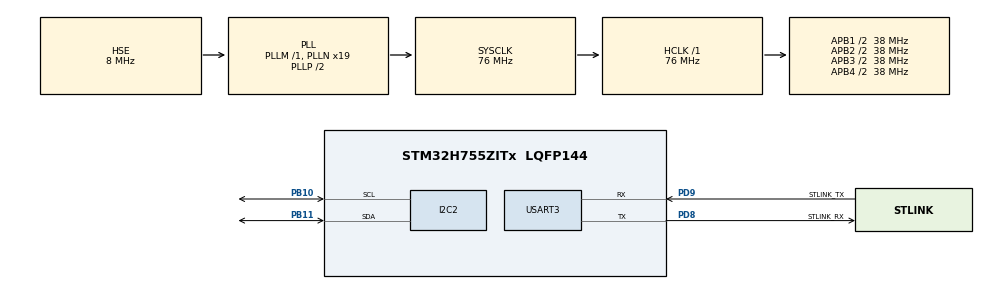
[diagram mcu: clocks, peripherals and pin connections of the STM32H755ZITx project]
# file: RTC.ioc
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CORTEX_M7.default_mode_Activation=1
CortexM4.IPs=BDMA,CORTEX_M4\:I,DMA,FATFS_M4\:I,FREERTOS_M4\:I,GPIO,IWDG2\:I,MDMA,NVIC2\:I,OPENAMP_M4\:I,PDM2PCM_M4\:I,PWR,RCC,RESMGR_UTILITY,SYS_M4\:I,USB_DEVICE_M4\:I,USB_HOST_M4\:I,VREFBUF,WWDG2\:I
CortexM7.IPs=BDMA\:I,CORTEX_M7\:I,DMA\:I,FATFS_M7\:I,FREERTOS_M7\:I,GPIO\:I,IWDG1\:I,MDMA\:I,NVIC1\:I,OPENAMP_M7\:I,PDM2PCM_M7\:I,PWR\:I,RCC\:I,RESMGR_UTILITY\:I,SYS\:I,USB_DEVICE_M7\:I,USB_HOST_M7\:I,VREFBUF\:I,WWDG1\:I,MEMORYMAP\:I,I2C2\:I,USART3\:I
I2C2.Timing=0x009094DE
Mcu.Family=STM32H7
Mcu.Name=STM32H755ZITx
Mcu.Package=LQFP144
NVIC1.PriorityGroup=NVIC_PRIORITYGROUP_4
NVIC2.PriorityGroup=NVIC_PRIORITYGROUP_4
PB10.Mode=I2C
PB10.PinAttribute=CortexM7
PB10.Signal=I2C2_SCL
PB11.Mode=I2C
PB11.PinAttribute=CortexM7
PB11.Signal=I2C2_SDA
PC14-OSC32_IN\ (OSC32_IN).Mode=LSE-External-Oscillator
PC14-OSC32_IN\ (OSC32_IN).PinAttribute=Free
PC14-OSC32_IN\ (OSC32_IN).Signal=RCC_OSC32_IN
PC15-OSC32_OUT\ (OSC32_OUT).Mode=LSE-External-Oscillator
PC15-OSC32_OUT\ (OSC32_OUT).PinAttribute=Free
PC15-OSC32_OUT\ (OSC32_OUT).Signal=RCC_OSC32_OUT
PD8.GPIO_Label=STLINK_RX
PD8.Mode=Asynchronous
PD8.PinAttribute=CortexM7
PD8.Signal=USART3_TX
PD9.GPIO_Label=STLINK_TX
PD9.Mode=Asynchronous
PD9.PinAttribute=CortexM7
PD9.Signal=USART3_RX
PH0-OSC_IN\ (PH0).Mode=HSE-External-Clock-Source
PH0-OSC_IN\ (PH0).PinAttribute=Free
PH0-OSC_IN\ (PH0).Signal=RCC_OSC_IN
ProjectManager.HeapSize=M4-0x200,M7-0x200
ProjectManager.StackSize=M4-0x400,M7-0x400
ProjectManager.TargetToolchain=STM32CubeIDE
RCC.ADCFreq_Value=16125000
RCC.APB1Freq_Value=38000000
RCC.APB2Freq_Value=38000000
RCC.APB3Freq_Value=38000000
RCC.APB4Freq_Value=38000000
RCC.CortexFreq_Value=76000000
RCC.D1PPRE=RCC_APB3_DIV2
RCC.D2PPRE1=RCC_APB1_DIV2
RCC.D2PPRE2=RCC_APB2_DIV2
RCC.D3PPRE=RCC_APB4_DIV2
RCC.DIVM1=1
RCC.DIVN1=19
RCC.HCLKFreq_Value=76000000
RCC.HSE_VALUE=8000000
RCC.PLL2FRACN=0
RCC.PLL3FRACN=0
RCC.PLLFRACN=0
RCC.PLLSourceVirtual=RCC_PLLSOURCE_HSE
RCC.SYSCLKFreq_VALUE=76000000
RCC.SYSCLKSource=RCC_SYSCLKSOURCE_PLLCLK
RCC.USBFreq_Value=76000000
SYS.userName=SYS_M7
USART3.VirtualMode-Asynchronous=VM_ASYNC
VP_MEMORYMAP_VS_MEMORYMAP.Mode=CurAppReg
VP_SYS_M4_VS_Systick.Mode=SysTick
board=custom

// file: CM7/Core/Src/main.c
 /* USER CODE BEGIN Header */
/**
  ******************************************************************************
  * @file           : main.c
  * @brief          : Main program body
  ******************************************************************************
  * @attention
  *
  * Copyright (c) 2025 STMicroelectronics.
  * All rights reserved.
  *
  * This software is licensed under terms that can be found in the LICENSE file
  * in the root directory of this software component.
  * If no LICENSE file comes with this software, it is provided AS-IS.
  *
  ******************************************************************************
  */
/* USER CODE END Header */
#include "main.h"

/* USER CODE BEGIN PD */

/* DUAL_CORE_BOOT_SYNC_SEQUENCE: Define for dual core boot synchronization    */
/*                             demonstration code based on hardware semaphore */
/* This define is present in both CM7/CM4 projects                            */
/* To comment when developping/debugging on a single core                     */
#define DUAL_CORE_BOOT_SYNC_SEQUENCE

#if defined(DUAL_CORE_BOOT_SYNC_SEQUENCE)
#ifndef HSEM_ID_0
#define HSEM_ID_0 (0U) /* HW semaphore 0*/
#endif
#endif /* DUAL_CORE_BOOT_SYNC_SEQUENCE */

/* USER CODE END PD */

I2C_HandleTypeDef hi2c2;

UART_HandleTypeDef huart3;

void SystemClock_Config(void);
static void MPU_Config(void);
static void MX_GPIO_Init(void);
static void MX_I2C2_Init(void);
static void MX_USART3_UART_Init(void);

/* USER CODE BEGIN 0 */
#include <stdio.h>
#include "myprintf.h"

uint8_t bcdToDec(uint8_t val) {
  return ((val / 16) * 10) + (val % 16);
}
/* USER CODE END 0 */

int main(void)
{

/* USER CODE BEGIN Boot_Mode_Sequence_0 */
#if defined(DUAL_CORE_BOOT_SYNC_SEQUENCE)
  int32_t timeout;
#endif /* DUAL_CORE_BOOT_SYNC_SEQUENCE */
/* USER CODE END Boot_Mode_Sequence_0 */

  /* MPU Configuration--------------------------------------------------------*/
  MPU_Config();

/* USER CODE BEGIN Boot_Mode_Sequence_1 */
#if defined(DUAL_CORE_BOOT_SYNC_SEQUENCE)
  /* Wait until CPU2 boots and enters in stop mode or timeout*/
  timeout = 0xFFFF;
  while((__HAL_RCC_GET_FLAG(RCC_FLAG_D2CKRDY) != RESET) && (timeout-- > 0));
  if ( timeout < 0 )
  {
  Error_Handler();
  }
#endif /* DUAL_CORE_BOOT_SYNC_SEQUENCE */
/* USER CODE END Boot_Mode_Sequence_1 */
  /* MCU Configuration--------------------------------------------------------*/

  /* Reset of all peripherals, Initializes the Flash interface and the Systick. */
  HAL_Init();

  /* Configure the system clock */
  SystemClock_Config();
/* USER CODE BEGIN Boot_Mode_Sequence_2 */
#if defined(DUAL_CORE_BOOT_SYNC_SEQUENCE)
/* When system initialization is finished, Cortex-M7 will release Cortex-M4 by means of
HSEM notification */
/*HW semaphore Clock enable*/
__HAL_RCC_HSEM_CLK_ENABLE();
/*Take HSEM */
HAL_HSEM_FastTake(HSEM_ID_0);
/*Release HSEM in order to notify the CPU2(CM4)*/
HAL_HSEM_Release(HSEM_ID_0,0);
/* wait until CPU2 wakes up from stop mode */
timeout = 0xFFFF;
while((__HAL_RCC_GET_FLAG(RCC_FLAG_D2CKRDY) == RESET) && (timeout-- > 0));
if ( timeout < 0 )
{
Error_Handler();
}
#endif /* DUAL_CORE_BOOT_SYNC_SEQUENCE */
/* USER CODE END Boot_Mode_Sequence_2 */

  /* Initialize all configured peripherals */
MX_GPIO_Init();
MX_I2C2_Init();
MX_USART3_UART_Init();
/* USER CODE BEGIN 2 */
printf("Setting RTC to current date and time...\r\n");
uint8_t RtcSlaveAddress = 0x68;
uint8_t time_date_data[7];
time_date_data[0] = 0x00; // Registro 0x00
time_date_data[1] = 0x28; // Registro 0x01
time_date_data[2] = 0x12; // Registro 0x02
time_date_data[3] = 0x05; // Registro 0x03
time_date_data[4] = 0x04; // Registro 0x04
time_date_data[5] = 0x09; // Registro 0x05
time_date_data[6] = 0x25; // Registro 0x06
HAL_StatusTypeDef status = HAL_I2C_Mem_Write(&hi2c2, RtcSlaveAddress << 1, 0x00, I2C_MEMADD_SIZE_8BIT, time_date_data, 7, 1000);
if (status == HAL_OK) {
   printf("RTC configured successfully!\r\n");
} else {
   printf("Error configuring RTC: %d\r\n", status);
}
HAL_Delay(100);
/* USER CODE END 2 */
/* Infinite loop */
/* USER CODE BEGIN WHILE */
while (1)
{
 uint8_t RtcSlaveAddress = 0x68;
 uint8_t minutes_register = 0x01;
 uint8_t minutes_value;
 uint8_t ReceiveBuffer[7];
 HAL_StatusTypeDef status;
 // FIGURE 4 and 5
 /*
 status = HAL_I2C_Master_Transmit(&hi2c2, RtcSlaveAddress << 1, &minutes_register, 1, 1000);
 if (status != HAL_OK) {
   printf("Error Transmit: %d\r\n", status);
   HAL_Delay(1000);
   continue;
 }
 status = HAL_I2C_Master_Receive(&hi2c2, RtcSlaveAddress << 1, &minutes_value, 1, 1000);
 if (status != HAL_OK) {
   printf("Error Receive: %d\r\n", status);
   HAL_Delay(1000);
   continue;
 }
 printf("Figura 4-5 - Minutes: %d\r\n", bcdToDec(minutes_value));
 */
 // OPCIÓN 2: FIGURE 6
 status = HAL_I2C_Mem_Read(&hi2c2, RtcSlaveAddress << 1, 0x01,
                         I2C_MEMADD_SIZE_8BIT, &minutes_value, 1, 1000);
 if (status != HAL_OK) {
   printf("Error reading minutes: %d\r\n", status);
   HAL_Delay(1000);
   continue;
 }
 printf("Figura 6 - Minutes: %d\r\n", bcdToDec(minutes_value));
 status = HAL_I2C_Mem_Read(&hi2c2, RtcSlaveAddress << 1, 0x00,
                         I2C_MEMADD_SIZE_8BIT, ReceiveBuffer, 7, 1000);
 if (status == HAL_OK) {
   printf("Full RTC - ");
   printf("Time: %02d:%02d:%02d",
          bcdToDec(ReceiveBuffer[2]),  // Horas
          bcdToDec(ReceiveBuffer[1]),  // Minutos
          bcdToDec(ReceiveBuffer[0])); // Segundos
   printf(" | Date: %02d/%02d/20%02d\r\n",
          bcdToDec(ReceiveBuffer[5]),  // Mes
          bcdToDec(ReceiveBuffer[4]),  // Día
          bcdToDec(ReceiveBuffer[6])); // Año
 } else {
   printf("Error reading full RTC: %d\r\n", status);
 }
 HAL_Delay(1000);
 /* USER CODE END WHILE */
}
}

void SystemClock_Config(void)
{
  RCC_OscInitTypeDef RCC_OscInitStruct = {0};
  RCC_ClkInitTypeDef RCC_ClkInitStruct = {0};

  /** Supply configuration update enable
  */
  HAL_PWREx_ConfigSupply(PWR_DIRECT_SMPS_SUPPLY);

  /** Configure the main internal regulator output voltage
  */
  __HAL_PWR_VOLTAGESCALING_CONFIG(PWR_REGULATOR_VOLTAGE_SCALE3);

  while(!__HAL_PWR_GET_FLAG(PWR_FLAG_VOSRDY)) {}

  /** Initializes the RCC Oscillators according to the specified parameters
  * in the RCC_OscInitTypeDef structure.
  */
  RCC_OscInitStruct.OscillatorType = RCC_OSCILLATORTYPE_HSE;
  RCC_OscInitStruct.HSEState = RCC_HSE_BYPASS;
  RCC_OscInitStruct.PLL.PLLState = RCC_PLL_ON;
  RCC_OscInitStruct.PLL.PLLSource = RCC_PLLSOURCE_HSE;
  RCC_OscInitStruct.PLL.PLLM = 1;
  RCC_OscInitStruct.PLL.PLLN = 19;
  RCC_OscInitStruct.PLL.PLLP = 2;
  RCC_OscInitStruct.PLL.PLLQ = 2;
  RCC_OscInitStruct.PLL.PLLR = 2;
  RCC_OscInitStruct.PLL.PLLRGE = RCC_PLL1VCIRANGE_3;
  RCC_OscInitStruct.PLL.PLLVCOSEL = RCC_PLL1VCOMEDIUM;
  RCC_OscInitStruct.PLL.PLLFRACN = 0;
  if (HAL_RCC_OscConfig(&RCC_OscInitStruct) != HAL_OK)
  {
    Error_Handler();
  }

  /** Initializes the CPU, AHB and APB buses clocks
  */
  RCC_ClkInitStruct.ClockType = RCC_CLOCKTYPE_HCLK|RCC_CLOCKTYPE_SYSCLK
                              |RCC_CLOCKTYPE_PCLK1|RCC_CLOCKTYPE_PCLK2
                              |RCC_CLOCKTYPE_D3PCLK1|RCC_CLOCKTYPE_D1PCLK1;
  RCC_ClkInitStruct.SYSCLKSource = RCC_SYSCLKSOURCE_PLLCLK;
  RCC_ClkInitStruct.SYSCLKDivider = RCC_SYSCLK_DIV1;
  RCC_ClkInitStruct.AHBCLKDivider = RCC_HCLK_DIV1;
  RCC_ClkInitStruct.APB3CLKDivider = RCC_APB3_DIV2;
  RCC_ClkInitStruct.APB1CLKDivider = RCC_APB1_DIV2;
  RCC_ClkInitStruct.APB2CLKDivider = RCC_APB2_DIV2;
  RCC_ClkInitStruct.APB4CLKDivider = RCC_APB4_DIV2;

  if (HAL_RCC_ClockConfig(&RCC_ClkInitStruct, FLASH_LATENCY_1) != HAL_OK)
  {
    Error_Handler();
  }
}

static void MX_I2C2_Init(void)
{

  hi2c2.Instance = I2C2;
  hi2c2.Init.Timing = 0x009094DE;
  hi2c2.Init.OwnAddress1 = 0;
  hi2c2.Init.AddressingMode = I2C_ADDRESSINGMODE_7BIT;
  hi2c2.Init.DualAddressMode = I2C_DUALADDRESS_DISABLE;
  hi2c2.Init.OwnAddress2 = 0;
  hi2c2.Init.OwnAddress2Masks = I2C_OA2_NOMASK;
  hi2c2.Init.GeneralCallMode = I2C_GENERALCALL_DISABLE;
  hi2c2.Init.NoStretchMode = I2C_NOSTRETCH_DISABLE;
  if (HAL_I2C_Init(&hi2c2) != HAL_OK)
  {
    Error_Handler();
  }

  /** Configure Analogue filter
  */
  if (HAL_I2CEx_ConfigAnalogFilter(&hi2c2, I2C_ANALOGFILTER_ENABLE) != HAL_OK)
  {
    Error_Handler();
  }

  /** Configure Digital filter
  */
  if (HAL_I2CEx_ConfigDigitalFilter(&hi2c2, 0) != HAL_OK)
  {
    Error_Handler();
  }

}

static void MX_USART3_UART_Init(void)
{

  huart3.Instance = USART3;
  huart3.Init.BaudRate = 115200;
  huart3.Init.WordLength = UART_WORDLENGTH_8B;
  huart3.Init.StopBits = UART_STOPBITS_1;
  huart3.Init.Parity = UART_PARITY_NONE;
  huart3.Init.Mode = UART_MODE_TX_RX;
  huart3.Init.HwFlowCtl = UART_HWCONTROL_NONE;
  huart3.Init.OverSampling = UART_OVERSAMPLING_16;
  huart3.Init.OneBitSampling = UART_ONE_BIT_SAMPLE_DISABLE;
  huart3.Init.ClockPrescaler = UART_PRESCALER_DIV1;
  huart3.AdvancedInit.AdvFeatureInit = UART_ADVFEATURE_NO_INIT;
  if (HAL_UART_Init(&huart3) != HAL_OK)
  {
    Error_Handler();
  }
  if (HAL_UARTEx_SetTxFifoThreshold(&huart3, UART_TXFIFO_THRESHOLD_1_8) != HAL_OK)
  {
    Error_Handler();
  }
  if (HAL_UARTEx_SetRxFifoThreshold(&huart3, UART_RXFIFO_THRESHOLD_1_8) != HAL_OK)
  {
    Error_Handler();
  }
  if (HAL_UARTEx_DisableFifoMode(&huart3) != HAL_OK)
  {
    Error_Handler();
  }

}

static void MX_GPIO_Init(void)
{

  /* GPIO Ports Clock Enable */
  __HAL_RCC_GPIOB_CLK_ENABLE();
  __HAL_RCC_GPIOD_CLK_ENABLE();

}

 /* MPU Configuration */

void MPU_Config(void)
{
  MPU_Region_InitTypeDef MPU_InitStruct = {0};

  /* Disables the MPU */
  HAL_MPU_Disable();

  /** Initializes and configures the Region and the memory to be protected
  */
  MPU_InitStruct.Enable = MPU_REGION_ENABLE;
  MPU_InitStruct.Number = MPU_REGION_NUMBER0;
  MPU_InitStruct.BaseAddress = 0x0;
  MPU_InitStruct.Size = MPU_REGION_SIZE_4GB;
  MPU_InitStruct.SubRegionDisable = 0x87;
  MPU_InitStruct.TypeExtField = MPU_TEX_LEVEL0;
  MPU_InitStruct.AccessPermission = MPU_REGION_NO_ACCESS;
  MPU_InitStruct.DisableExec = MPU_INSTRUCTION_ACCESS_DISABLE;
  MPU_InitStruct.IsShareable = MPU_ACCESS_SHAREABLE;
  MPU_InitStruct.IsCacheable = MPU_ACCESS_NOT_CACHEABLE;
  MPU_InitStruct.IsBufferable = MPU_ACCESS_NOT_BUFFERABLE;

  HAL_MPU_ConfigRegion(&MPU_InitStruct);
  /* Enables the MPU */
  HAL_MPU_Enable(MPU_PRIVILEGED_DEFAULT);

}

void Error_Handler(void)
{
  __disable_irq();
  while (1)
  {
  }

}
